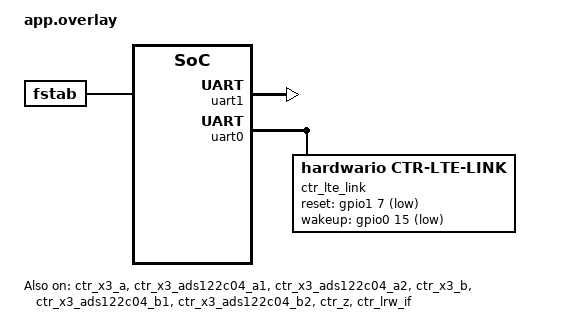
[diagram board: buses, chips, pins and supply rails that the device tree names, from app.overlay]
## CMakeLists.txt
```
#
# Copyright (c) 2024 HARDWARIO a.s.
#
# SPDX-License-Identifier: LicenseRef-HARDWARIO-5-Clause
#

cmake_minimum_required(VERSION 3.20.0)

set(ENV{FW_BUNDLE} "com.hardwario.chester.app.scale")
set(ENV{FW_NAME} "CHESTER Scale")

# Derive firmware version from git (see scripts/version.cmake); the fallback is
# used when git is unavailable at build time.
set(FW_VERSION_FALLBACK "v3.0.0")
include(${CMAKE_CURRENT_SOURCE_DIR}/../../scripts/version.cmake)

find_package(Zephyr REQUIRED HINTS $ENV{ZEPHYR_BASE})

project(chester-scale)

include(${ZEPHYR_CHESTER_MODULE_DIR}/scripts/app_codec.cmake)

target_sources(app PRIVATE src/app_cbor.c)
target_sources(app PRIVATE src/app_config.c)
target_sources(app PRIVATE src/app_data.c)
target_sources(app PRIVATE src/app_handler.c)
target_sources(app PRIVATE src/app_init.c)
target_sources(app PRIVATE src/app_lrw.c)
target_sources(app PRIVATE src/app_measure.c)
target_sources(app PRIVATE src/app_send.c)
target_sources(app PRIVATE src/app_sensor.c)
target_sources(app PRIVATE src/app_shell.c)
target_sources(app PRIVATE src/app_work.c)
target_sources(app PRIVATE src/main.c)

target_precompile_headers(app PRIVATE src/feature.h)

# ### Preserved code "cmake" (begin)
# ^^^ Preserved code "cmake" (end)
```

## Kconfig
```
#
# Copyright (c) 2024 HARDWARIO a.s.
#
# SPDX-License-Identifier: LicenseRef-HARDWARIO-5-Clause
#

menu "Application"

# CHESTER-APP-REPORT-JITTER
config APP_REPORT_JITTER
	bool "Add random time jitter to report transfers"
	default y
	select ENTROPY_GENERATOR
# HARDWARE-CHESTER-X3-A
config SHIELD_CTR_X3_A
	bool "Enable SHIELD_CTR_X3_A"
	default y

config CTR_X3
	default y
# HARDWARE-CHESTER-X3-B
config SHIELD_CTR_X3_B
	bool "Enable SHIELD_CTR_X3_B"
	default y

config CTR_X3
	default y
# HARDWARE-CHESTER-Z
config SHIELD_CTR_Z
	bool "Enable SHIELD_CTR_Z"
	default y

config CTR_Z
	default y

config I2C
	default y
# SUBSYSTEM-LRW
config SHIELD_CTR_LRW
	bool "Enable SHIELD_CTR_LRW"
	default y

config CTR_LRW
	default y
# SUBSYSTEM-LTE-V2
config SHIELD_CTR_LTE_V2
	bool "Enable SHIELD_CTR_LTE_V2"
	default y

config CTR_LTE_V2
	default y

# ### Preserved code "k_config" (begin)
# ^^^ Preserved code "k_config" (end)

rsource "Kconfig.variant"

endmenu

menu "Zephyr Kernel"
source "Kconfig.zephyr"
endmenu
```

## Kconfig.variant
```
#
# Copyright (c) 2024 HARDWARIO a.s.
#
# SPDX-License-Identifier: LicenseRef-HARDWARIO-5-Clause
#

config VARIANT_SCALE
    bool "Enable VARIANT_SCALE"
    default y
```

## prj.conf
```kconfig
#
# Copyright (c) 2024 HARDWARIO a.s.
#
# SPDX-License-Identifier: LicenseRef-HARDWARIO-5-Clause
#

# Configurations
# SUBSYSTEM-ACCEL
CONFIG_CTR_ACCEL=y
# SUBSYSTEM-BATT
CONFIG_CTR_BATT=y
# SUBSYSTEM-BLE-TAG
CONFIG_CTR_BLE_TAG=y
# SUBSYSTEM-BLUETOOTH
CONFIG_CTR_BLE=y
# SUBSYSTEM-BT-FILTER-ACCEPT-LIST
CONFIG_BT_FILTER_ACCEPT_LIST=y
# SUBSYSTEM-BT-OBSERVER
CONFIG_BT_OBSERVER=y
# SUBSYSTEM-BUF
CONFIG_CTR_BUF=y
# SUBSYSTEM-BUTTON
CONFIG_CTR_BUTTON=y
# SUBSYSTEM-CLOUD
CONFIG_CTR_CLOUD=y
CONFIG_SETTINGS_SHELL=y
CONFIG_IMG_MANAGER=y
CONFIG_BOOTLOADER_MCUBOOT=y
CONFIG_SPI=y
CONFIG_DFU_TARGET=y
CONFIG_DFU_TARGET_STREAM=y
CONFIG_DFU_TARGET_MCUBOOT=y
CONFIG_DFU_TARGET_LOG_LEVEL_DBG=y
CONFIG_STREAM_FLASH_ERASE=y
CONFIG_STREAM_FLASH=y
CONFIG_FILE_SYSTEM=y
CONFIG_FILE_SYSTEM_LITTLEFS=y
CONFIG_FILE_SYSTEM_MKFS=y
CONFIG_FILE_SYSTEM_SHELL=y
CONFIG_SETTINGS_FILE=y
CONFIG_SETTINGS_FILE_PATH="/lfs1/settings/run"
# SUBSYSTEM-CONFIG
CONFIG_CTR_CONFIG=y
# SUBSYSTEM-DEFAULTS
CONFIG_CTR_DEFAULTS=y
# SUBSYSTEM-ENTROPY-GENERATOR
CONFIG_ENTROPY_GENERATOR=y
# SUBSYSTEM-INFO
CONFIG_CTR_INFO=y
# SUBSYSTEM-LED
CONFIG_CTR_LED=y
# SUBSYSTEM-LOG
CONFIG_CTR_LOG=y
# SUBSYSTEM-LRW
CONFIG_CTR_LRW=y
# SUBSYSTEM-LTE-V2
CONFIG_CTR_LTE_V2=y
# SUBSYSTEM-POWER
CONFIG_CTR_POWER=y
# SUBSYSTEM-RTC
CONFIG_CTR_RTC=y
# SUBSYSTEM-SHELL
CONFIG_CTR_SHELL=y
# SUBSYSTEM-THERM
CONFIG_CTR_THERM=y
# SUBSYSTEM-WDOG
CONFIG_CTR_WDOG=y
# SUBSYSTEM-ZCBOR
CONFIG_ZCBOR=y
CONFIG_ZCBOR_STOP_ON_ERROR=y
# Extra configurations
CONFIG_ADC_NRFX_SAADC=n
CONFIG_ADC_SHELL=n
CONFIG_GPIO_SHELL=y
CONFIG_I2C_SHELL=y
CONFIG_ISR_TABLES_LOCAL_DECLARATION=y
CONFIG_LTO=y
CONFIG_MCUBOOT_SHELL=y
CONFIG_NEWLIB_LIBC_NANO=n

# ### Preserved code "config" (begin)
CONFIG_BUILD_OUTPUT_META=y
CONFIG_BUILD_OUTPUT_META_STATE_PROPAGATE=y
CONFIG_CTR_CLOUD_SPOOL=y
# ^^^ Preserved code "config" (end)
```

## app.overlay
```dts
/*
 * Copyright (c) 2024 HARDWARIO a.s.
 *
 * SPDX-License-Identifier: LicenseRef-HARDWARIO-5-Clause
 */

/* HARDWARE-CHESTER-X3-A  */
&ctr_x3_a {
	status = "okay";
};

&ctr_x3_ads122c04_a1 {
	status = "okay";
	gain = <7>;
	vref = <1>;
};

&ctr_x3_ads122c04_a2 {
	status = "okay";
	gain = <7>;
	vref = <1>;
};
/* HARDWARE-CHESTER-X3-B  */
&ctr_x3_b {
	status = "okay";
};

&ctr_x3_ads122c04_b1 {
	status = "okay";
	gain = <7>;
	vref = <1>;
};

&ctr_x3_ads122c04_b2 {
	status = "okay";
	gain = <7>;
	vref = <1>;
};
/* HARDWARE-CHESTER-Z  */
&ctr_z {
	status = "okay";
};
/* SUBSYSTEM-CLOUD  */
/ {
	fstab {
		compatible = "zephyr,fstab";
		lfs1: lfs1 {
			compatible = "zephyr,fstab,littlefs";
			mount-point = "/lfs1";
			partition = <&littlefs_storage>;
			automount;
			read-size = <16>;
			prog-size = <16>;
			cache-size = <64>;
			lookahead-size = <32>;
			block-cycles = <512>;
		};
	};
};
/* SUBSYSTEM-LRW   */
&ctr_lrw_if {
	status = "okay";
};

&uart1 {
	status = "okay";
};
/* SUBSYSTEM-LTE-V2  */
/ {
	chosen {
		ctr,lte_link = &ctr_lte_link;
	};
};

&uart0 {
	status = "okay";

	ctr_lte_link: ctr_lte_link {
		compatible = "hardwario,ctr-lte-link";
		status = "okay";
		reset-gpios = <&gpio1 7 (GPIO_ACTIVE_LOW | GPIO_OPEN_DRAIN)>;
		wakeup-gpios = <&gpio0 15 (GPIO_ACTIVE_LOW | GPIO_OPEN_DRAIN)>;
	};
};

&uart0 {
	status = "okay";
};

/* ### Preserved code "overlay" (begin) */
/* ^^^ Preserved code "overlay" (end) */
```

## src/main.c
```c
/*
 * Copyright (c) 2024 HARDWARIO a.s.
 *
 * SPDX-License-Identifier: LicenseRef-HARDWARIO-5-Clause
 */

#include "app_init.h"
#include "app_config.h"

/* CHESTER includes */
#include <chester/ctr_cloud.h>
#include <chester/ctr_led.h>
#include <chester/ctr_lte_v2.h>
#include <chester/ctr_rtc.h>
#include <chester/ctr_wdog.h>

/* Zephyr includes */
#include <zephyr/kernel.h>
#include <zephyr/logging/log.h>

/* Standard includes */
#include <stdbool.h>

LOG_MODULE_REGISTER(main, LOG_LEVEL_DBG);

extern struct ctr_wdog_channel g_app_wdog_channel;

static bool should_feed_watchdog(void);

int main(void)
{
	int ret;

	LOG_INF("Build time: " __DATE__ " " __TIME__);

	ret = app_init();
	if (ret) {
		LOG_ERR("Call `app_init` failed: %d", ret);
		k_oops();
	}

	for (;;) {
		k_sleep(K_SECONDS(5));
		LOG_INF("Alive");

		switch (g_app_config.mode) {
		case APP_CONFIG_MODE_NONE:
			/* Blink yellow when LTE/LRW mode not configured*/
			ctr_led_set(CTR_LED_CHANNEL_Y, true);
			k_sleep(K_MSEC(30));
			ctr_led_set(CTR_LED_CHANNEL_Y, false);
			break;

#if defined(FEATURE_SUBSYSTEM_LTE_V2)
		case APP_CONFIG_MODE_LTE:
			struct ctr_lte_v2_cereg_param cereg_param;
			ctr_lte_v2_get_cereg_param(&cereg_param);

			enum ctr_led_channel led_channel =
				(cereg_param.stat == CTR_LTE_V2_CEREG_PARAM_STAT_REGISTERED_HOME ||
				 cereg_param.stat == CTR_LTE_V2_CEREG_PARAM_STAT_REGISTERED_ROAMING)
					? CTR_LED_CHANNEL_G
					: CTR_LED_CHANNEL_R;

			ctr_led_set(led_channel, true);
			k_sleep(K_MSEC(30));
			ctr_led_set(led_channel, false);
			break;
#endif /* defined(FEATURE_SUBSYSTEM_LTE_V2) */

		default:
			ctr_led_set(CTR_LED_CHANNEL_G, true);
			k_sleep(K_MSEC(30));
			ctr_led_set(CTR_LED_CHANNEL_G, false);
			break;
		}

		if (should_feed_watchdog()) {
			LOG_INF("WDG feed");

			ret = ctr_wdog_feed(&g_app_wdog_channel);
			if (ret) {
				LOG_ERR("Call `ctr_wdog_feed` failed: %d", ret);
				k_oops();
			}
		}
	}

	return 0;
}

static bool should_feed_watchdog(void)
{

#if defined(FEATURE_SUBSYSTEM_LTE_V2)
	int ret;

	if (g_app_config.mode == APP_CONFIG_MODE_LTE) {

		if (g_app_config.downlink_wdg_interval) {
			LOG_INF("downlink_wdg_interval: %d", g_app_config.downlink_wdg_interval);
			int64_t downlink_ts;
			ret = ctr_cloud_get_last_seen_ts(&downlink_ts);

			if (ret) {
				LOG_WRN("No downlink timestamp");
				return false;
			}

			int64_t current_ts;
			ret = ctr_rtc_get_ts(&current_ts);
			if (ret) {
				LOG_ERR("Call `ctr_rtc_get_ts` failed: %d", ret);
				return false;
			}

			int64_t diff_ts = current_ts - downlink_ts;
			LOG_INF("diff_ts: %lld", diff_ts);
			if (diff_ts > g_app_config.downlink_wdg_interval) {
				LOG_WRN("Downlink ts bigger than interval! %lld", diff_ts);
				return false;
			}
		}
		LOG_INF("Downlink ts OK");
	}
#endif /* defined(FEATURE_SUBSYSTEM_LTE_V2) */

	return true;
}
```

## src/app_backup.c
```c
/*
 * Copyright (c) 2024 HARDWARIO a.s.
 *
 * SPDX-License-Identifier: LicenseRef-HARDWARIO-5-Clause
 */

#include "app_backup.h"
#include "app_config.h"
#include "app_data.h"
#include "app_work.h"

/* CHESTER includes */
#include <chester/ctr_rtc.h>
#include <chester/drivers/ctr_z.h>

/* Zephyr includes */
#include <zephyr/device.h>
#include <zephyr/devicetree.h>
#include <zephyr/kernel.h>
#include <zephyr/logging/log.h>

/* Standard includes */
#include <errno.h>
#include <math.h>
#include <stdbool.h>

LOG_MODULE_REGISTER(app_backup, LOG_LEVEL_DBG);

#if defined(FEATURE_HARDWARE_CHESTER_Z)

void handler_ctr_z(const struct device *dev, enum ctr_z_event backup_event, void *param)
{
	int ret;

	if (backup_event != CTR_Z_EVENT_DC_CONNECTED &&
	    backup_event != CTR_Z_EVENT_DC_DISCONNECTED) {
		return;
	}

	struct app_data_backup *backup = &g_app_data.backup;

	app_work_backup_update();

	app_data_lock();

	backup->line_present = backup_event == CTR_Z_EVENT_DC_CONNECTED;

	if (backup->event_count < APP_DATA_MAX_BACKUP_EVENTS) {
		struct app_data_backup_event *event = &backup->events[backup->event_count];

		ret = ctr_rtc_get_ts(&event->timestamp);
		if (ret) {
			LOG_ERR("Call `ctr_rtc_get_ts` failed: %d", ret);
			app_data_unlock();
			return;
		}

		event->connected = backup->line_present;
		backup->event_count++;

		LOG_INF("Event count: %d", backup->event_count);
	} else {
		LOG_WRN("Measurement full");
		app_data_unlock();
		return;
	}

	LOG_INF("Backup: %d", (int)backup->line_present);

	if (g_app_config.backup_report_connected && backup_event == CTR_Z_EVENT_DC_CONNECTED) {
		app_work_send_with_rate_limit();
	}

	if (g_app_config.backup_report_disconnected &&
	    backup_event == CTR_Z_EVENT_DC_DISCONNECTED) {
		app_work_send_with_rate_limit();
	}

	app_data_unlock();
}

int app_backup_init(void)
{
	int ret;

	static const struct device *dev = DEVICE_DT_GET(DT_NODELABEL(ctr_z));

	if (!device_is_ready(dev)) {
		LOG_ERR("Device not ready");
		return -ENODEV;
	}

	ret = ctr_z_set_handler(dev, handler_ctr_z, NULL);
	if (ret) {
		LOG_ERR("Call `ctr_z_set_handler` failed: %d", ret);
		return ret;
	}

	ret = ctr_z_enable_interrupts(dev);
	if (ret) {
		LOG_ERR("Call `ctr_z_enable_interrupts` failed: %d", ret);
		return ret;
	}

	uint32_t serial_number;
	ret = ctr_z_get_serial_number(dev, &serial_number);
	if (ret) {
		LOG_ERR("Call `ctr_z_get_serial_number` failed: %d", ret);
		return ret;
	}

	LOG_INF("Serial number: %08x", serial_number);

	uint16_t hw_revision;
	ret = ctr_z_get_hw_revision(dev, &hw_revision);
	if (ret) {
		LOG_ERR("Call `ctr_z_get_hw_revision` failed: %d", ret);
		return ret;
	}

	LOG_INF("HW revision: %04x", hw_revision);

	uint32_t hw_variant;
	ret = ctr_z_get_hw_variant(dev, &hw_variant);
	if (ret) {
		LOG_ERR("Call `ctr_z_get_hw_variant` failed: %d", ret);
		return ret;
	}

	LOG_INF("HW variant: %08x", hw_variant);

	uint32_t fw_version;
	ret = ctr_z_get_fw_version(dev, &fw_version);
	if (ret) {
		LOG_ERR("Call `ctr_z_get_fw_version` failed: %d", ret);
		return ret;
	}

	LOG_INF("FW version: %08x", fw_version);

	char vendor_name[32];
	ret = ctr_z_get_vendor_name(dev, vendor_name, sizeof(vendor_name));
	if (ret) {
		LOG_ERR("Call `ctr_z_get_vendor_name` failed: %d", ret);
		return ret;
	}

	LOG_INF("Vendor name: %s", vendor_name);

	char product_name[32];
	ret = ctr_z_get_product_name(dev, product_name, sizeof(product_name));
	if (ret) {
		LOG_ERR("Call `ctr_z_get_product_name` failed: %d", ret);
		return ret;
	}

	LOG_INF("Product name: %s", product_name);

	return 0;
}

int app_backup_sample(void)
{
	int ret;

	static const struct device *dev = DEVICE_DT_GET(DT_NODELABEL(ctr_z));

	if (!device_is_ready(dev)) {
		LOG_ERR("Device not ready");
		ret = -ENODEV;
		goto error;
	}

	struct ctr_z_status status;
	ret = ctr_z_get_status(dev, &status);
	if (ret) {
		LOG_ERR("Call `ctr_z_get_status` failed: %d", ret);
		goto error;
	}

	LOG_INF("DC input connected: %d", status.dc_input_connected);

	uint16_t vdc;
	ret = ctr_z_get_vdc_mv(dev, &vdc);
	if (ret) {
		LOG_ERR("Call `ctr_z_get_vdc_mv` failed: %d", ret);
		goto error;
	}

	LOG_INF("Voltage DC input: %u mV", vdc);

	uint16_t vbat;
	ret = ctr_z_get_vbat_mv(dev, &vbat);
	if (ret) {
		LOG_ERR("Call `ctr_z_get_vbat_mv` failed: %d", ret);
		goto error;
	}

	LOG_INF("Voltage backup battery: %u mV", vbat);

	app_data_lock();
	g_app_data.backup.line_present = status.dc_input_connected;
	g_app_data.backup.line_voltage = vdc / 1000.f;
	g_app_data.backup.battery_voltage = vbat / 1000.f;
	app_data_unlock();

	return 0;

error:
	app_data_lock();
	g_app_data.backup.line_present = false;
	g_app_data.backup.line_voltage = NAN;
	g_app_data.backup.battery_voltage = NAN;
	app_data_unlock();

	return ret;
}

int app_backup_clear(void)
{
	app_data_lock();
	g_app_data.backup.event_count = 0;
	app_data_unlock();

	return 0;
}

#endif /* defined(FEATURE_HARDWARE_CHESTER_Z) */
```

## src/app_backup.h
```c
/*
 * Copyright (c) 2024 HARDWARIO a.s.
 *
 * SPDX-License-Identifier: LicenseRef-HARDWARIO-5-Clause
 */

#ifndef APP_BACKUP_H_
#define APP_BACKUP_H_

#ifdef __cplusplus
extern "C" {
#endif

int app_backup_init(void);
int app_backup_sample(void);
int app_backup_clear(void);

#ifdef __cplusplus
}
#endif

#endif /* APP_BACKUP_H_ */
```

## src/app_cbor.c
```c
/*
 * Copyright (c) 2024 HARDWARIO a.s.
 *
 * SPDX-License-Identifier: LicenseRef-HARDWARIO-5-Clause
 */

#include "app_cbor.h"
#include "app_codec.h"
#include "app_config.h"
#include "app_data.h"

/* CHESTER includes */
#include <chester/ctr_info.h>
#include <chester/ctr_lte_v2.h>
#include <chester/ctr_rtc.h>
#include <chester/ctr_util.h>

/* Zephyr includes */
#include <zephyr/kernel.h>
#include <zephyr/logging/log.h>

#include <zcbor_common.h>
#include <zcbor_decode.h>
#include <zcbor_encode.h>

/* Standard includes */
#include <errno.h>
#include <math.h>
#include <stdbool.h>
#include <stddef.h>
#include <stdint.h>
#include <stdlib.h>

/* ### Preserved code "functions" (begin) */
#include <chester/ctr_power.h>

__unused static void put_sample_mul(zcbor_state_t *zs, struct ctr_data_aggreg *sample, float mul)
{
	if (isnan(sample->min)) {
		zcbor_nil_put(zs, NULL);
	} else {
		int32_t v = sample->min * mul;
		zcbor_int32_put(zs, v);
	}

	if (isnan(sample->max)) {
		zcbor_nil_put(zs, NULL);
	} else {
		int32_t v = sample->max * mul;
		zcbor_int32_put(zs, v);
	}

	if (isnan(sample->avg)) {
		zcbor_nil_put(zs, NULL);
	} else {
		int32_t v = sample->avg * mul;
		zcbor_int32_put(zs, v);
	}

	if (isnan(sample->mdn)) {
		zcbor_nil_put(zs, NULL);
	} else {
		int32_t v = sample->mdn * mul;
		zcbor_int32_put(zs, v);
	}
}

__unused static void put_sample(zcbor_state_t *zs, struct ctr_data_aggreg *sample)
{
	put_sample_mul(zs, sample, 1.f);
}
/* ^^^ Preserved code "functions" (end) */

LOG_MODULE_REGISTER(app_cbor, LOG_LEVEL_DBG);

static int encode(zcbor_state_t *zs)
{
	int ret;

	zs->constant_state->stop_on_error = true;

	zcbor_map_start_encode(zs, ZCBOR_VALUE_IS_INDEFINITE_LENGTH);

	/* ### Preserved code "message" (begin) */

	zcbor_uint32_put(zs, CODEC_KEY_E_MESSAGE);
	{
		zcbor_map_start_encode(zs, ZCBOR_VALUE_IS_INDEFINITE_LENGTH);

		zcbor_uint32_put(zs, CODEC_KEY_E_MESSAGE__VERSION);
		zcbor_uint32_put(zs, 1);

		static uint32_t sequence = 0;
		zcbor_uint32_put(zs, CODEC_KEY_E_MESSAGE__SEQUENCE);
		zcbor_uint32_put(zs, sequence++);

		uint64_t timestamp;
		ret = ctr_rtc_get_ts(&timestamp);
		if (ret) {
			LOG_ERR("Call `ctr_rtc_get_ts` failed: %d", ret);
			return ret;
		}

		zcbor_uint32_put(zs, CODEC_KEY_E_MESSAGE__TIMESTAMP);
		zcbor_uint64_put(zs, timestamp);

		zcbor_map_end_encode(zs, ZCBOR_VALUE_IS_INDEFINITE_LENGTH);
	}

	/* ^^^ Preserved code "message" (end) */

	/* ### Preserved code "attribute" (begin) */

	zcbor_uint32_put(zs, CODEC_KEY_E_ATTRIBUTE);
	{
		zcbor_map_start_encode(zs, ZCBOR_VALUE_IS_INDEFINITE_LENGTH);

		char *vendor_name;
		ctr_info_get_vendor_name(&vendor_name);

		zcbor_uint32_put(zs, CODEC_KEY_E_ATTRIBUTE__VENDOR_NAME);
		zcbor_tstr_put_term(zs, vendor_name, CONFIG_ZCBOR_MAX_STR_LEN);

		char *product_name;
		ctr_info_get_product_name(&product_name);

		zcbor_uint32_put(zs, CODEC_KEY_E_ATTRIBUTE__PRODUCT_NAME);
		zcbor_tstr_put_term(zs, product_name, CONFIG_ZCBOR_MAX_STR_LEN);

		char *hw_variant;
		ctr_info_get_hw_variant(&hw_variant);

		zcbor_uint32_put(zs, CODEC_KEY_E_ATTRIBUTE__HW_VARIANT);
		zcbor_tstr_put_term(zs, hw_variant, CONFIG_ZCBOR_MAX_STR_LEN);

		char *hw_revision;
		ctr_info_get_hw_revision(&hw_revision);

		zcbor_uint32_put(zs, CODEC_KEY_E_ATTRIBUTE__HW_REVISION);
		zcbor_tstr_put_term(zs, hw_revision, CONFIG_ZCBOR_MAX_STR_LEN);

		char *fw_version;
		ctr_info_get_fw_version(&fw_version);

		zcbor_uint32_put(zs, CODEC_KEY_E_ATTRIBUTE__FW_VERSION);
		zcbor_tstr_put_term(zs, fw_version, CONFIG_ZCBOR_MAX_STR_LEN);

		char *serial_number;
		ctr_info_get_serial_number(&serial_number);

		zcbor_uint32_put(zs, CODEC_KEY_E_ATTRIBUTE__SERIAL_NUMBER);
		zcbor_tstr_put_term(zs, serial_number, CONFIG_ZCBOR_MAX_STR_LEN);

		zcbor_map_end_encode(zs, ZCBOR_VALUE_IS_INDEFINITE_LENGTH);
	}

	/* ^^^ Preserved code "attribute" (end) */

	/* ### Preserved code "system" (begin) */

	zcbor_uint32_put(zs, CODEC_KEY_E_SYSTEM);
	{
		zcbor_map_start_encode(zs, ZCBOR_VALUE_IS_INDEFINITE_LENGTH);

		zcbor_uint32_put(zs, CODEC_KEY_E_SYSTEM__UPTIME);
		zcbor_uint64_put(zs, k_uptime_get() / 1000);

		zcbor_map_end_encode(zs, ZCBOR_VALUE_IS_INDEFINITE_LENGTH);
	}

	/* ^^^ Preserved code "system" (end) */

	/* ### Preserved code "network" (begin) */

	zcbor_uint32_put(zs, CODEC_KEY_E_NETWORK);
	{
		zcbor_map_start_encode(zs, ZCBOR_VALUE_IS_INDEFINITE_LENGTH);

		zcbor_uint32_put(zs, CODEC_KEY_E_NETWORK__PARAMETER);
		{
			zcbor_map_start_encode(zs, ZCBOR_VALUE_IS_INDEFINITE_LENGTH);

			static struct ctr_lte_v2_conn_param conn_param;
			ret = ctr_lte_v2_get_conn_param(&conn_param);
			if (ret) {
				LOG_ERR("Call `ctr_lte_v2_state_get_conn_param` failed: %d", ret);
				return ret;
			}

			zcbor_uint32_put(zs, CODEC_KEY_E_NETWORK__PARAMETER__EEST);
			if (conn_param.valid) {
				zcbor_int32_put(zs, conn_param.eest);
			} else {
				zcbor_nil_put(zs, NULL);
			}

			zcbor_uint32_put(zs, CODEC_KEY_E_NETWORK__PARAMETER__ECL);
			if (conn_param.valid) {
				zcbor_int32_put(zs, conn_param.ecl);
			} else {
				zcbor_nil_put(zs, NULL);
			}

			zcbor_uint32_put(zs, CODEC_KEY_E_NETWORK__PARAMETER__RSRP);
			if (conn_param.valid) {
				zcbor_int32_put(zs, conn_param.rsrp);
			} else {
				zcbor_nil_put(zs, NULL);
			}

			zcbor_uint32_put(zs, CODEC_KEY_E_NETWORK__PARAMETER__RSRQ);
			if (conn_param.valid) {
				zcbor_int32_put(zs, conn_param.rsrq);
			} else {
				zcbor_nil_put(zs, NULL);
			}

			zcbor_uint32_put(zs, CODEC_KEY_E_NETWORK__PARAMETER__SNR);
			if (conn_param.valid) {
				zcbor_int32_put(zs, conn_param.snr);
			} else {
				zcbor_nil_put(zs, NULL);
			}

			zcbor_uint32_put(zs, CODEC_KEY_E_NETWORK__PARAMETER__PLMN);
			if (conn_param.valid) {
				zcbor_int32_put(zs, conn_param.plmn);
			} else {
				zcbor_nil_put(zs, NULL);
			}

			zcbor_uint32_put(zs, CODEC_KEY_E_NETWORK__PARAMETER__CID);
			if (conn_param.valid) {
				zcbor_int32_put(zs, conn_param.cid);
			} else {
				zcbor_nil_put(zs, NULL);
			}

			zcbor_uint32_put(zs, CODEC_KEY_E_NETWORK__PARAMETER__BAND);
			if (conn_param.valid) {
				zcbor_int32_put(zs, conn_param.band);
			} else {
				zcbor_nil_put(zs, NULL);
			}

			zcbor_uint32_put(zs, CODEC_KEY_E_NETWORK__PARAMETER__EARFCN);
			if (conn_param.valid) {
				zcbor_int32_put(zs, conn_param.earfcn);
			} else {
				zcbor_nil_put(zs, NULL);
			}

			zcbor_map_end_encode(zs, ZCBOR_VALUE_IS_INDEFINITE_LENGTH);
		}

		zcbor_map_end_encode(zs, ZCBOR_VALUE_IS_INDEFINITE_LENGTH);
	}

	/* ^^^ Preserved code "network" (end) */

	/* ### Preserved code "accelerometer" (begin) */

	zcbor_uint32_put(zs, CODEC_KEY_E_ACCELEROMETER);
	{
		zcbor_map_start_encode(zs, ZCBOR_VALUE_IS_INDEFINITE_LENGTH);

		zcbor_uint32_put(zs, CODEC_KEY_E_ACCELEROMETER__ACCEL_X);
		if (isnan(g_app_data.accel_acceleration_x)) {
			zcbor_nil_put(zs, NULL);
		} else {
			zcbor_int32_put(zs, g_app_data.accel_acceleration_x * 1000.f);
		}

		zcbor_uint32_put(zs, CODEC_KEY_E_ACCELEROMETER__ACCEL_Y);
		if (isnan(g_app_data.accel_acceleration_y)) {
			zcbor_nil_put(zs, NULL);
		} else {
			zcbor_int32_put(zs, g_app_data.accel_acceleration_y * 1000.f);
		}

		zcbor_uint32_put(zs, CODEC_KEY_E_ACCELEROMETER__ACCEL_Z);
		if (isnan(g_app_data.accel_acceleration_z)) {
			zcbor_nil_put(zs, NULL);
		} else {
			zcbor_int32_put(zs, g_app_data.accel_acceleration_z * 1000.f);
		}

		zcbor_uint32_put(zs, CODEC_KEY_E_ACCELEROMETER__ORIENTATION);
		if (g_app_data.accel_orientation == INT_MAX) {
			zcbor_nil_put(zs, NULL);
		} else {
			zcbor_uint32_put(zs, g_app_data.accel_orientation);
		}

		zcbor_map_end_encode(zs, ZCBOR_VALUE_IS_INDEFINITE_LENGTH);
	}

	/* ^^^ Preserved code "accelerometer" (end) */

	/* ### Preserved code "thermometer" (begin) */

	zcbor_uint32_put(zs, CODEC_KEY_E_THERMOMETER);
	{
		zcbor_map_start_encode(zs, ZCBOR_VALUE_IS_INDEFINITE_LENGTH);

		zcbor_uint32_put(zs, CODEC_KEY_E_THERMOMETER__TEMPERATURE);
		if (isnan(g_app_data.therm_temperature)) {
			zcbor_nil_put(zs, NULL);
		} else {
			zcbor_int32_put(zs, g_app_data.therm_temperature * 100.f);
		}

		zcbor_map_end_encode(zs, ZCBOR_VALUE_IS_INDEFINITE_LENGTH);
	}

	/* ^^^ Preserved code "thermometer" (end) */

	/* ### Preserved code "power" (begin) */

#if defined(FEATURE_SUBSYSTEM_POWER)
	ret = ctr_power_cbor_encode(zs);
	if (ret) {
		LOG_ERR("Call `ctr_power_cbor_encode` failed: %d", ret);
		return ret;
	}
#endif /* defined(FEATURE_SUBSYSTEM_POWER) */

	/* ^^^ Preserved code "power" (end) */

	/* ### Preserved code "weight" (begin) */
	if (g_app_config.channel_a1_active || g_app_config.channel_a2_active ||
	    g_app_config.channel_b1_active || g_app_config.channel_b2_active) {
		zcbor_uint32_put(zs, CODEC_KEY_E_WEIGHT);
		{
			zcbor_list_start_encode(zs, ZCBOR_VALUE_IS_INDEFINITE_LENGTH);

			zcbor_int64_put(zs, g_app_data.weight_measurement_timestamp);

			for (int i = 0; i < g_app_data.weight_measurement_count; i++) {
				zcbor_uint32_put(
					zs, g_app_data.weight_measurements[i].timestamp_offset);

				if (!g_app_config.channel_a1_active ||
				    g_app_data.weight_measurements[i].a1_raw == INT32_MAX) {
					zcbor_nil_put(zs, NULL);
				} else {
					zcbor_int32_put(zs,
							g_app_data.weight_measurements[i].a1_raw);
				}

				if (!g_app_config.channel_a2_active ||
				    g_app_data.weight_measurements[i].a2_raw == INT32_MAX) {
					zcbor_nil_put(zs, NULL);
				} else {
					zcbor_int32_put(zs,
							g_app_data.weight_measurements[i].a2_raw);
				}

				if (!g_app_config.channel_b1_active ||
				    g_app_data.weight_measurements[i].b1_raw == INT32_MAX) {
					zcbor_nil_put(zs, NULL);
				} else {
					zcbor_int32_put(zs,
							g_app_data.weight_measurements[i].b1_raw);
				}

				if (!g_app_config.channel_b2_active ||
				    g_app_data.weight_measurements[i].b2_raw == INT32_MAX) {
					zcbor_nil_put(zs, NULL);
				} else {
					zcbor_int32_put(zs,
							g_app_data.weight_measurements[i].b2_raw);
				}
			}

			zcbor_list_end_encode(zs, ZCBOR_VALUE_IS_INDEFINITE_LENGTH);
		}
	}
	/* ^^^ Preserved code "weight" (end) */

	/* ### Preserved code "people_counter" (begin) */

#if defined(FEATURE_CHESTER_HARDWARE_PEOPLE_COUNTER)
	zcbor_uint32_put(zs, CODEC_KEY_E_PEOPLE_COUNTER);
	{
		zcbor_list_start_encode(zs, ZCBOR_VALUE_IS_INDEFINITE_LENGTH);

		zcbor_uint64_put(zs, g_app_data.people_measurement_timestamp);

		for (int i = 0; i < g_app_data.people_measurement_count; i++) {
			bool is_valid = g_app_data.people_measurements[i].is_valid;

			struct people_counter_measurement *measurement =
				&g_app_data.people_measurements[i].measurement;

			zcbor_uint32_put(zs, g_app_data.people_measurements[i].timestamp_offset);

			if (!is_valid) {
				zcbor_nil_put(zs, NULL);
			} else {
				zcbor_uint32_put(zs, measurement->motion_counter);
			}

			if (!is_valid) {
				zcbor_nil_put(zs, NULL);
			} else {
				zcbor_uint32_put(zs, measurement->pass_counter_left);
			}

			if (!is_valid) {
				zcbor_nil_put(zs, NULL);
			} else {
				zcbor_uint32_put(zs, measurement->pass_counter_right);
			}

			if (!is_valid) {
				zcbor_nil_put(zs, NULL);
			} else {
				zcbor_uint32_put(zs, measurement->pass_counter_adult);
			}

			if (!is_valid) {
				zcbor_nil_put(zs, NULL);
			} else {
				zcbor_uint32_put(zs, measurement->pass_counter_child);
			}

			if (!is_valid) {
				zcbor_nil_put(zs, NULL);
			} else {
				zcbor_uint32_put(zs, measurement->stay_counter_adult);
			}

			if (!is_valid) {
				zcbor_nil_put(zs, NULL);
			} else {
				zcbor_uint32_put(zs, measurement->stay_counter_child);
			}

			if (!is_valid) {
				zcbor_nil_put(zs, NULL);
			} else {
				zcbor_uint32_put(zs, measurement->total_time_adult);
			}

			if (!is_valid) {
				zcbor_nil_put(zs, NULL);
			} else {
				zcbor_uint32_put(zs, measurement->total_time_child);
			}

			if (!is_valid) {
				zcbor_nil_put(zs, NULL);
			} else {
				zcbor_uint32_put(zs, measurement->consumed_energy);
			}
		}

		zcbor_list_end_encode(zs, ZCBOR_VALUE_IS_INDEFINITE_LENGTH);
	}
#endif /* defined(FEATURE_CHESTER_HARDWARE_PEOPLE_COUNTER) */

	/* ^^^ Preserved code "people_counter" (end) */

	/* ### Preserved code "ble_tags" (begin) */

#if defined(FEATURE_SUBSYSTEM_BLE_TAG)
	zcbor_int32_put(zs, CODEC_KEY_E_BLE_TAGS);
	{
		zcbor_list_start_encode(zs, ZCBOR_VALUE_IS_INDEFINITE_LENGTH);
		for (int i = 0; i < CTR_BLE_TAG_COUNT; i++) {
			struct app_data_ble_tag_sensor *sensor = &g_app_data.ble_tag.sensor[i];

			if (ctr_ble_tag_is_addr_empty(sensor->addr)) {
				continue;
			}

			zcbor_map_start_encode(zs, ZCBOR_VALUE_IS_INDEFINITE_LENGTH);
			{

				zcbor_uint32_put(zs, CODEC_KEY_E_BLE_TAGS__ADDR);
				{
					char addr_str[BT_ADDR_SIZE * 2 + 1] = {0};
					ctr_buf2hex(sensor->addr, BT_ADDR_SIZE, addr_str,
						    BT_ADDR_SIZE * 2 + 1, false);
					zcbor_tstr_put_lit(zs, addr_str);
				}

				zcbor_uint32_put(zs, CODEC_KEY_E_BLE_TAGS__RSSI);
				if (sensor->rssi < 0) {
					zcbor_int32_put(zs, sensor->rssi);
				} else {
					zcbor_nil_put(zs, NULL);
				}

				zcbor_uint32_put(zs, CODEC_KEY_E_BLE_TAGS__VOLTAGE);
				if (!isnan(sensor->voltage)) {
					zcbor_uint32_put(zs, sensor->voltage * 100.f);
				} else {
					zcbor_nil_put(zs, NULL);
				}

				zcbor_uint32_put(zs, CODEC_KEY_E_BLE_TAGS__TEMPERATURE);
				{
					zcbor_map_start_encode(zs,
							       ZCBOR_VALUE_IS_INDEFINITE_LENGTH);
					zcbor_uint32_put(
						zs,
						CODEC_KEY_E_BLE_TAGS__TEMPERATURE__MEASUREMENTS);
					{
						zcbor_list_start_encode(
							zs, ZCBOR_VALUE_IS_INDEFINITE_LENGTH);

						zcbor_uint64_put(zs, g_app_data.ble_tag.timestamp);
						zcbor_uint32_put(zs, g_app_config.interval_aggreg);

						for (int j = 0; j < sensor->measurement_count;
						     j++) {
							put_sample_mul(zs,
								       &sensor->measurements[j]
										.temperature,
								       100.f);
						}
						zcbor_list_end_encode(
							zs, ZCBOR_VALUE_IS_INDEFINITE_LENGTH);
					}
					zcbor_map_end_encode(zs, ZCBOR_VALUE_IS_INDEFINITE_LENGTH);
				}

				zcbor_int32_put(zs, CODEC_KEY_E_BLE_TAGS__HUMIDITY);
				{
					zcbor_map_start_encode(zs,
							       ZCBOR_VALUE_IS_INDEFINITE_LENGTH);
					zcbor_uint32_put(
						zs, CODEC_KEY_E_BLE_TAGS__HUMIDITY__MEASUREMENTS);
					{
						zcbor_list_start_encode(
							zs, ZCBOR_VALUE_IS_INDEFINITE_LENGTH);

						zcbor_uint64_put(zs, g_app_data.ble_tag.timestamp);
						zcbor_uint32_put(zs, g_app_config.interval_aggreg);

						for (int j = 0; j < sensor->measurement_count;
						     j++) {
							put_sample_mul(
								zs,
								&sensor->measurements[j].humidity,
								100.f);
						}
						zcbor_list_end_encode(
							zs, ZCBOR_VALUE_IS_INDEFINITE_LENGTH);
					}
					zcbor_map_end_encode(zs, ZCBOR_VALUE_IS_INDEFINITE_LENGTH);
				}
			}

			zcbor_map_end_encode(zs, ZCBOR_VALUE_IS_INDEFINITE_LENGTH);
		}

		zcbor_list_end_encode(zs, ZCBOR_VALUE_IS_INDEFINITE_LENGTH);
	}
#endif /* defined(FEATURE_SUBSYSTEM_BLE_TAG) */

	/* ^^^ Preserved code "ble_tags" (end) */

	zcbor_map_end_encode(zs, ZCBOR_VALUE_IS_INDEFINITE_LENGTH);

	if (!zcbor_check_error(zs)) {
		LOG_ERR("Encoding failed: %d", zcbor_pop_error(zs));
		return -EFAULT;
	}

	return 0;
}

int app_cbor_encode(zcbor_state_t *zs)
{
	int ret;

	app_data_lock();

	ret = encode(zs);
	if (ret) {
		LOG_ERR("Call `encode` failed: %d", ret);
		app_data_unlock();
		return ret;
	}

	app_data_unlock();

	return 0;
}
```

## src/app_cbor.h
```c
#ifndef APP_CBOR_H_
#define APP_CBOR_H_

/* Zephyr includes */
#include <zephyr.h>
#include <zcbor_common.h>

#ifdef __cplusplus
extern "C" {
#endif

int app_cbor_encode(zcbor_state_t *zs);

#ifdef __cplusplus
}
#endif

#endif /* APP_CBOR_H_ */
```

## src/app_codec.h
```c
#ifndef CODEC_H_
#define CODEC_H_

/* This file has been generated using the script gen-codec.py */

#ifdef __cplusplus
extern "C" {
#endif

#define CODEC_CLOUD_DECODER_HASH ((uint64_t)0x0cf3c030b992b548)
#define CODEC_CLOUD_ENCODER_HASH ((uint64_t)0x0000000000000000)

enum codec_key_e {
	CODEC_KEY_E_MESSAGE = 0,
	CODEC_KEY_E_MESSAGE__VERSION = 1,
	CODEC_KEY_E_MESSAGE__SEQUENCE = 2,
	CODEC_KEY_E_MESSAGE__TIMESTAMP = 3,
	CODEC_KEY_E_ATTRIBUTE = 4,
	CODEC_KEY_E_ATTRIBUTE__VENDOR_NAME = 5,
	CODEC_KEY_E_ATTRIBUTE__PRODUCT_NAME = 6,
	CODEC_KEY_E_ATTRIBUTE__HW_VARIANT = 7,
	CODEC_KEY_E_ATTRIBUTE__HW_REVISION = 8,
	CODEC_KEY_E_ATTRIBUTE__FW_VERSION = 9,
	CODEC_KEY_E_ATTRIBUTE__SERIAL_NUMBER = 10,
	CODEC_KEY_E_SYSTEM = 11,
	CODEC_KEY_E_SYSTEM__UPTIME = 12,
	CODEC_KEY_E_SYSTEM__VOLTAGE_LOAD = 13,
	CODEC_KEY_E_SYSTEM__VOLTAGE_REST = 14,
	CODEC_KEY_E_SYSTEM__CURRENT_LOAD = 15,
	CODEC_KEY_E_NETWORK = 16,
	CODEC_KEY_E_NETWORK__PARAMETER = 17,
	CODEC_KEY_E_NETWORK__PARAMETER__EEST = 18,
	CODEC_KEY_E_NETWORK__PARAMETER__ECL = 19,
	CODEC_KEY_E_NETWORK__PARAMETER__RSRP = 20,
	CODEC_KEY_E_NETWORK__PARAMETER__RSRQ = 21,
	CODEC_KEY_E_NETWORK__PARAMETER__SNR = 22,
	CODEC_KEY_E_NETWORK__PARAMETER__PLMN = 23,
	CODEC_KEY_E_NETWORK__PARAMETER__CID = 24,
	CODEC_KEY_E_NETWORK__PARAMETER__BAND = 25,
	CODEC_KEY_E_NETWORK__PARAMETER__EARFCN = 26,
	CODEC_KEY_E_ACCELEROMETER = 27,
	CODEC_KEY_E_ACCELEROMETER__ACCEL_X = 28,
	CODEC_KEY_E_ACCELEROMETER__ACCEL_Y = 29,
	CODEC_KEY_E_ACCELEROMETER__ACCEL_Z = 30,
	CODEC_KEY_E_ACCELEROMETER__ORIENTATION = 31,
	CODEC_KEY_E_THERMOMETER = 32,
	CODEC_KEY_E_THERMOMETER__TEMPERATURE = 33,
	CODEC_KEY_E_BACKUP = 34,
	CODEC_KEY_E_BACKUP__LINE_VOLTAGE = 35,
	CODEC_KEY_E_BACKUP__BATT_VOLTAGE = 36,
	CODEC_KEY_E_BACKUP__STATE = 37,
	CODEC_KEY_E_BACKUP__EVENTS = 38,
	CODEC_KEY_E_WEIGHT = 39,
	CODEC_KEY_E_PEOPLE_COUNTER = 40,
	CODEC_KEY_E_BLE_TAGS = 41,
	CODEC_KEY_E_BLE_TAGS__ADDR = 42,
	CODEC_KEY_E_BLE_TAGS__RSSI = 43,
	CODEC_KEY_E_BLE_TAGS__VOLTAGE = 44,
	CODEC_KEY_E_BLE_TAGS__TEMPERATURE = 45,
	CODEC_KEY_E_BLE_TAGS__TEMPERATURE__MEASUREMENTS = 46,
	CODEC_KEY_E_BLE_TAGS__HUMIDITY = 47,
	CODEC_KEY_E_BLE_TAGS__HUMIDITY__MEASUREMENTS = 48,
};

#define CODEC_CLOUD_OPTIONS_STATIC(_name) \
	static const uint8_t _name##_cloud_decoder[] = CLOUD_DECODER_BUFFER; \
	static struct ctr_cloud_options _name = { \
		.decoder_hash = CODEC_CLOUD_DECODER_HASH, \
		.encoder_hash = CODEC_CLOUD_ENCODER_HASH, \
		.decoder_buf = _name##_cloud_decoder, \
		.decoder_len = 1273, \
		.encoder_buf = NULL, \
		.encoder_len = 0, \
}

#define CLOUD_DECODER_BUFFER { \
	0xa4, 0x67, 0x76, 0x65, 0x72, 0x73, 0x69, 0x6f, \
	0x6e, 0x02, 0x64, 0x74, 0x79, 0x70, 0x65, 0x67, \
	0x64, 0x65, 0x63, 0x6f, 0x64, 0x65, 0x72, 0x64, \
	0x6e, 0x61, 0x6d, 0x65, 0x78, 0x1f, 0x63, 0x6f, \
	0x6d, 0x2e, 0x68, 0x61, 0x72, 0x64, 0x77, 0x61, \
	0x72, 0x69, 0x6f, 0x2e, 0x63, 0x68, 0x65, 0x73, \
	0x74, 0x65, 0x72, 0x2e, 0x61, 0x70, 0x70, 0x2e, \
	0x73, 0x63, 0x61, 0x6c, 0x65, 0x66, 0x73, 0x63, \
	0x68, 0x65, 0x6d, 0x61, 0x8a, 0xa1, 0x67, 0x6d, \
	0x65, 0x73, 0x73, 0x61, 0x67, 0x65, 0x83, 0xa1, \
	0x67, 0x76, 0x65, 0x72, 0x73, 0x69, 0x6f, 0x6e, \
	0xf6, 0xa1, 0x68, 0x73, 0x65, 0x71, 0x75, 0x65, \
	0x6e, 0x63, 0x65, 0xf6, 0xa1, 0x69, 0x74, 0x69, \
	0x6d, 0x65, 0x73, 0x74, 0x61, 0x6d, 0x70, 0xf6, \
	0xa1, 0x69, 0x61, 0x74, 0x74, 0x72, 0x69, 0x62, \
	0x75, 0x74, 0x65, 0x86, 0xa1, 0x6b, 0x76, 0x65, \
	0x6e, 0x64, 0x6f, 0x72, 0x5f, 0x6e, 0x61, 0x6d, \
	0x65, 0xf6, 0xa1, 0x6c, 0x70, 0x72, 0x6f, 0x64, \
	0x75, 0x63, 0x74, 0x5f, 0x6e, 0x61, 0x6d, 0x65, \
	0xf6, 0xa1, 0x6a, 0x68, 0x77, 0x5f, 0x76, 0x61, \
	0x72, 0x69, 0x61, 0x6e, 0x74, 0xf6, 0xa1, 0x6b, \
	0x68, 0x77, 0x5f, 0x72, 0x65, 0x76, 0x69, 0x73, \
	0x69, 0x6f, 0x6e, 0xf6, 0xa1, 0x6a, 0x66, 0x77, \
	0x5f, 0x76, 0x65, 0x72, 0x73, 0x69, 0x6f, 0x6e, \
	0xf6, 0xa1, 0x6d, 0x73, 0x65, 0x72, 0x69, 0x61, \
	0x6c, 0x5f, 0x6e, 0x75, 0x6d, 0x62, 0x65, 0x72, \
	0xf6, 0xa1, 0x66, 0x73, 0x79, 0x73, 0x74, 0x65, \
	0x6d, 0x84, 0xa1, 0x66, 0x75, 0x70, 0x74, 0x69, \
	0x6d, 0x65, 0xf6, 0xa1, 0x6c, 0x76, 0x6f, 0x6c, \
	0x74, 0x61, 0x67, 0x65, 0x5f, 0x6c, 0x6f, 0x61, \
	0x64, 0x82, 0xa1, 0x64, 0x24, 0x64, 0x69, 0x76, \
	0x19, 0x03, 0xe8, 0xa1, 0x64, 0x24, 0x66, 0x70, \
	0x70, 0x02, 0xa1, 0x6c, 0x76, 0x6f, 0x6c, 0x74, \
	0x61, 0x67, 0x65, 0x5f, 0x72, 0x65, 0x73, 0x74, \
	0x82, 0xa1, 0x64, 0x24, 0x64, 0x69, 0x76, 0x19, \
	0x03, 0xe8, 0xa1, 0x64, 0x24, 0x66, 0x70, 0x70, \
	0x02, 0xa1, 0x6c, 0x63, 0x75, 0x72, 0x72, 0x65, \
	0x6e, 0x74, 0x5f, 0x6c, 0x6f, 0x61, 0x64, 0xf6, \
	0xa1, 0x67, 0x6e, 0x65, 0x74, 0x77, 0x6f, 0x72, \
	0x6b, 0x81, 0xa1, 0x69, 0x70, 0x61, 0x72, 0x61, \
	0x6d, 0x65, 0x74, 0x65, 0x72, 0x89, 0xa1, 0x64, \
	0x65, 0x65, 0x73, 0x74, 0xf6, 0xa1, 0x63, 0x65, \
	0x63, 0x6c, 0xf6, 0xa1, 0x64, 0x72, 0x73, 0x72, \
	0x70, 0xf6, 0xa1, 0x64, 0x72, 0x73, 0x72, 0x71, \
	0xf6, 0xa1, 0x63, 0x73, 0x6e, 0x72, 0xf6, 0xa1, \
	0x64, 0x70, 0x6c, 0x6d, 0x6e, 0xf6, 0xa1, 0x63, \
	0x63, 0x69, 0x64, 0xf6, 0xa1, 0x64, 0x62, 0x61, \
	0x6e, 0x64, 0xf6, 0xa1, 0x66, 0x65, 0x61, 0x72, \
	0x66, 0x63, 0x6e, 0xf6, 0xa1, 0x6d, 0x61, 0x63, \
	0x63, 0x65, 0x6c, 0x65, 0x72, 0x6f, 0x6d, 0x65, \
	0x74, 0x65, 0x72, 0x84, 0xa1, 0x67, 0x61, 0x63, \
	0x63, 0x65, 0x6c, 0x5f, 0x78, 0x82, 0xa1, 0x64, \
	0x24, 0x64, 0x69, 0x76, 0x19, 0x03, 0xe8, 0xa1, \
	0x64, 0x24, 0x66, 0x70, 0x70, 0x02, 0xa1, 0x67, \
	0x61, 0x63, 0x63, 0x65, 0x6c, 0x5f, 0x79, 0x82, \
	0xa1, 0x64, 0x24, 0x64, 0x69, 0x76, 0x19, 0x03, \
	0xe8, 0xa1, 0x64, 0x24, 0x66, 0x70, 0x70, 0x02, \
	0xa1, 0x67, 0x61, 0x63, 0x63, 0x65, 0x6c, 0x5f, \
	0x7a, 0x82, 0xa1, 0x64, 0x24, 0x64, 0x69, 0x76, \
	0x19, 0x03, 0xe8, 0xa1, 0x64, 0x24, 0x66, 0x70, \
	0x70, 0x02, 0xa1, 0x6b, 0x6f, 0x72, 0x69, 0x65, \
	0x6e, 0x74, 0x61, 0x74, 0x69, 0x6f, 0x6e, 0xf6, \
	0xa1, 0x6b, 0x74, 0x68, 0x65, 0x72, 0x6d, 0x6f, \
	0x6d, 0x65, 0x74, 0x65, 0x72, 0x81, 0xa1, 0x6b, \
	0x74, 0x65, 0x6d, 0x70, 0x65, 0x72, 0x61, 0x74, \
	0x75, 0x72, 0x65, 0x82, 0xa1, 0x64, 0x24, 0x64, \
	0x69, 0x76, 0x18, 0x64, 0xa1, 0x64, 0x24, 0x66, \
	0x70, 0x70, 0x02, 0xa1, 0x66, 0x62, 0x61, 0x63, \
	0x6b, 0x75, 0x70, 0x84, 0xa1, 0x6c, 0x6c, 0x69, \
	0x6e, 0x65, 0x5f, 0x76, 0x6f, 0x6c, 0x74, 0x61, \
	0x67, 0x65, 0xf6, 0xa1, 0x6c, 0x62, 0x61, 0x74, \
	0x74, 0x5f, 0x76, 0x6f, 0x6c, 0x74, 0x61, 0x67, \
	0x65, 0xf6, 0xa1, 0x65, 0x73, 0x74, 0x61, 0x74, \
	0x65, 0x81, 0xa1, 0x65, 0x24, 0x65, 0x6e, 0x75, \
	0x6d, 0x82, 0x6c, 0x64, 0x69, 0x73, 0x63, 0x6f, \
	0x6e, 0x6e, 0x65, 0x63, 0x74, 0x65, 0x64, 0x69, \
	0x63, 0x6f, 0x6e, 0x6e, 0x65, 0x63, 0x74, 0x65, \
	0x64, 0xa1, 0x66, 0x65, 0x76, 0x65, 0x6e, 0x74, \
	0x73, 0x82, 0xa1, 0x64, 0x24, 0x6b, 0x65, 0x79, \
	0x66, 0x65, 0x76, 0x65, 0x6e, 0x74, 0x73, 0xa1, \
	0x64, 0x24, 0x74, 0x73, 0x6f, 0x81, 0xa1, 0x64, \
	0x74, 0x79, 0x70, 0x65, 0x81, 0xa1, 0x65, 0x24, \
	0x65, 0x6e, 0x75, 0x6d, 0x82, 0x6c, 0x64, 0x69, \
	0x73, 0x63, 0x6f, 0x6e, 0x6e, 0x65, 0x63, 0x74, \
	0x65, 0x64, 0x69, 0x63, 0x6f, 0x6e, 0x6e, 0x65, \
	0x63, 0x74, 0x65, 0x64, 0xa1, 0x66, 0x77, 0x65, \
	0x69, 0x67, 0x68, 0x74, 0x81, 0xa1, 0x64, 0x24, \
	0x74, 0x73, 0x6f, 0x84, 0xa1, 0x6d, 0x72, 0x61, \
	0x77, 0x5f, 0x72, 0x65, 0x73, 0x75, 0x6c, 0x74, \
	0x5f, 0x61, 0x31, 0xf6, 0xa1, 0x6d, 0x72, 0x61, \
	0x77, 0x5f, 0x72, 0x65, 0x73, 0x75, 0x6c, 0x74, \
	0x5f, 0x61, 0x32, 0xf6, 0xa1, 0x6d, 0x72, 0x61, \
	0x77, 0x5f, 0x72, 0x65, 0x73, 0x75, 0x6c, 0x74, \
	0x5f, 0x62, 0x31, 0xf6, 0xa1, 0x6d, 0x72, 0x61, \
	0x77, 0x5f, 0x72, 0x65, 0x73, 0x75, 0x6c, 0x74, \
	0x5f, 0x62, 0x32, 0xf6, 0xa1, 0x6e, 0x70, 0x65, \
	0x6f, 0x70, 0x6c, 0x65, 0x5f, 0x63, 0x6f, 0x75, \
	0x6e, 0x74, 0x65, 0x72, 0x81, 0xa1, 0x64, 0x24, \
	0x74, 0x73, 0x6f, 0x8a, 0xa1, 0x6e, 0x6d, 0x6f, \
	0x74, 0x69, 0x6f, 0x6e, 0x5f, 0x63, 0x6f, 0x75, \
	0x6e, 0x74, 0x65, 0x72, 0xf6, 0xa1, 0x71, 0x70, \
	0x61, 0x73, 0x73, 0x5f, 0x63, 0x6f, 0x75, 0x6e, \
	0x74, 0x65, 0x72, 0x5f, 0x6c, 0x65, 0x66, 0x74, \
	0xf6, 0xa1, 0x72, 0x70, 0x61, 0x73, 0x73, 0x5f, \
	0x63, 0x6f, 0x75, 0x6e, 0x74, 0x65, 0x72, 0x5f, \
	0x72, 0x69, 0x67, 0x68, 0x74, 0xf6, 0xa1, 0x72, \
	0x70, 0x61, 0x73, 0x73, 0x5f, 0x63, 0x6f, 0x75, \
	0x6e, 0x74, 0x65, 0x72, 0x5f, 0x61, 0x64, 0x75, \
	0x6c, 0x74, 0xf6, 0xa1, 0x72, 0x70, 0x61, 0x73, \
	0x73, 0x5f, 0x63, 0x6f, 0x75, 0x6e, 0x74, 0x65, \
	0x72, 0x5f, 0x63, 0x68, 0x69, 0x6c, 0x64, 0xf6, \
	0xa1, 0x72, 0x73, 0x74, 0x61, 0x79, 0x5f, 0x63, \
	0x6f, 0x75, 0x6e, 0x74, 0x65, 0x72, 0x5f, 0x61, \
	0x64, 0x75, 0x6c, 0x74, 0xf6, 0xa1, 0x72, 0x73, \
	0x74, 0x61, 0x79, 0x5f, 0x63, 0x6f, 0x75, 0x6e, \
	0x74, 0x65, 0x72, 0x5f, 0x63, 0x68, 0x69, 0x6c, \
	0x64, 0xf6, 0xa1, 0x70, 0x74, 0x6f, 0x74, 0x61, \
	0x6c, 0x5f, 0x74, 0x69, 0x6d, 0x65, 0x5f, 0x61, \
	0x64, 0x75, 0x6c, 0x74, 0xf6, 0xa1, 0x70, 0x74, \
	0x6f, 0x74, 0x61, 0x6c, 0x5f, 0x74, 0x69, 0x6d, \
	0x65, 0x5f, 0x63, 0x68, 0x69, 0x6c, 0x64, 0xf6, \
	0xa1, 0x6f, 0x63, 0x6f, 0x6e, 0x73, 0x75, 0x6d, \
	0x65, 0x64, 0x5f, 0x65, 0x6e, 0x65, 0x72, 0x67, \
	0x79, 0xf6, 0xa1, 0x68, 0x62, 0x6c, 0x65, 0x5f, \
	0x74, 0x61, 0x67, 0x73, 0x85, 0xa1, 0x64, 0x61, \
	0x64, 0x64, 0x72, 0xf6, 0xa1, 0x64, 0x72, 0x73, \
	0x73, 0x69, 0xf6, 0xa1, 0x67, 0x76, 0x6f, 0x6c, \
	0x74, 0x61, 0x67, 0x65, 0x82, 0xa1, 0x64, 0x24, \
	0x64, 0x69, 0x76, 0x18, 0x64, 0xa1, 0x64, 0x24, \
	0x66, 0x70, 0x70, 0x02, 0xa1, 0x6b, 0x74, 0x65, \
	0x6d, 0x70, 0x65, 0x72, 0x61, 0x74, 0x75, 0x72, \
	0x65, 0x81, 0xa1, 0x6c, 0x6d, 0x65, 0x61, 0x73, \
	0x75, 0x72, 0x65, 0x6d, 0x65, 0x6e, 0x74, 0x73, \
	0x81, 0xa1, 0x64, 0x24, 0x74, 0x73, 0x70, 0x84, \
	0xa1, 0x63, 0x6d, 0x69, 0x6e, 0x82, 0xa1, 0x64, \
	0x24, 0x64, 0x69, 0x76, 0x18, 0x64, 0xa1, 0x64, \
	0x24, 0x66, 0x70, 0x70, 0x02, 0xa1, 0x63, 0x6d, \
	0x61, 0x78, 0x82, 0xa1, 0x64, 0x24, 0x64, 0x69, \
	0x76, 0x18, 0x64, 0xa1, 0x64, 0x24, 0x66, 0x70, \
	0x70, 0x02, 0xa1, 0x63, 0x61, 0x76, 0x67, 0x82, \
	0xa1, 0x64, 0x24, 0x64, 0x69, 0x76, 0x18, 0x64, \
	0xa1, 0x64, 0x24, 0x66, 0x70, 0x70, 0x02, 0xa1, \
	0x63, 0x6d, 0x64, 0x6e, 0x82, 0xa1, 0x64, 0x24, \
	0x64, 0x69, 0x76, 0x18, 0x64, 0xa1, 0x64, 0x24, \
	0x66, 0x70, 0x70, 0x02, 0xa1, 0x68, 0x68, 0x75, \
	0x6d, 0x69, 0x64, 0x69, 0x74, 0x79, 0x81, 0xa1, \
	0x6c, 0x6d, 0x65, 0x61, 0x73, 0x75, 0x72, 0x65, \
	0x6d, 0x65, 0x6e, 0x74, 0x73, 0x81, 0xa1, 0x64, \
	0x24, 0x74, 0x73, 0x70, 0x84, 0xa1, 0x63, 0x6d, \
	0x69, 0x6e, 0x82, 0xa1, 0x64, 0x24, 0x64, 0x69, \
	0x76, 0x18, 0x64, 0xa1, 0x64, 0x24, 0x66, 0x70, \
	0x70, 0x02, 0xa1, 0x63, 0x6d, 0x61, 0x78, 0x82, \
	0xa1, 0x64, 0x24, 0x64, 0x69, 0x76, 0x18, 0x64, \
	0xa1, 0x64, 0x24, 0x66, 0x70, 0x70, 0x02, 0xa1, \
	0x63, 0x61, 0x76, 0x67, 0x82, 0xa1, 0x64, 0x24, \
	0x64, 0x69, 0x76, 0x18, 0x64, 0xa1, 0x64, 0x24, \
	0x66, 0x70, 0x70, 0x02, 0xa1, 0x63, 0x6d, 0x64, \
	0x6e, 0x82, 0xa1, 0x64, 0x24, 0x64, 0x69, 0x76, \
	0x18, 0x64, 0xa1, 0x64, 0x24, 0x66, 0x70, 0x70, \
	0x02, \
}

#ifdef __cplusplus
}
#endif

#endif /* CODEC_H_ */
```

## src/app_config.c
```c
/*
 * Copyright (c) 2024 HARDWARIO a.s.
 *
 * SPDX-License-Identifier: LicenseRef-HARDWARIO-5-Clause
 */

#include "app_config.h"

/* CHESTER includes */
#include <chester/ctr_config.h>

/* Zephyr includes */
#include <zephyr/init.h>
#include <zephyr/kernel.h>
#include <zephyr/logging/log.h>
#include <zephyr/settings/settings.h>
#include <zephyr/shell/shell.h>

/* Standard includes */
#include <stdbool.h>
#include <stdio.h>
#include <stdlib.h>
#include <string.h>

/* ### Preserved code "includes" (begin) */
/* ^^^ Preserved code "includes" (end) */

LOG_MODULE_REGISTER(app_config, LOG_LEVEL_DBG);

#define SETTINGS_PFX "app-scale"

struct app_config g_app_config;

static struct app_config m_config_interim;

/* clang-format off */
const struct ctr_config_item items[] = {
	CTR_CONFIG_ITEM_INT("interval-report", m_config_interim.interval_report, 30, 86400, "Get/Set report interval in seconds.", 900),
	CTR_CONFIG_ITEM_INT("interval-poll", m_config_interim.interval_poll, 0, 86400, "Get/Set poll interval in seconds.", 0),
	CTR_CONFIG_ITEM_INT("interval-sample", m_config_interim.interval_sample, 1, 86400, "Get/Set sample interval in seconds.", 60),
	CTR_CONFIG_ITEM_INT("interval-aggreg", m_config_interim.interval_aggreg, 1, 86400, "Get/Set aggregate interval in seconds.", 300),
	CTR_CONFIG_ITEM_INT("downlink-wdg-interval", m_config_interim.downlink_wdg_interval, 0, 1209600, "Get/Set downlink watchdog interval in seconds (disabled if 0).", 129600),
	CTR_CONFIG_ITEM_INT("event-report-delay", m_config_interim.event_report_delay, 1, 86400, "Get/Set event report delay in seconds.", 1),
	CTR_CONFIG_ITEM_INT("event-report-rate", m_config_interim.event_report_rate, 1, 3600, "Get/Set event report rate in reports per hour.", 30),
	CTR_CONFIG_ITEM_BOOL("channel-a1-active", m_config_interim.channel_a1_active, "Get/Set channel A1 activation.", true),
	CTR_CONFIG_ITEM_BOOL("channel-a2-active", m_config_interim.channel_a2_active, "Get/Set channel A2 activation.", true),
	CTR_CONFIG_ITEM_BOOL("channel-b1-active", m_config_interim.channel_b1_active, "Get/Set channel B1 activation.", true),
	CTR_CONFIG_ITEM_BOOL("channel-b2-active", m_config_interim.channel_b2_active, "Get/Set channel B2 activation.", true),
	CTR_CONFIG_ITEM_INT("weight-measurement-interval", m_config_interim.weight_measurement_interval, 30, 86400, "Get/Set weight measurement interval in seconds.", 60),

#if defined(FEATURE_HARDWARE_CHESTER_PEOPLE_COUNTER)
	CTR_CONFIG_ITEM_INT("people-measurement-interval", m_config_interim.people_measurement_interval, 5, 3600, "Get/Set people measurement interval in seconds.", 600),
	CTR_CONFIG_ITEM_INT("people-counter-power-off-delay", m_config_interim.people_counter_power_off_delay, 0, 255, "Get/Set People Counter power off delay in seconds.", 30),
	CTR_CONFIG_ITEM_INT("people-counter-stay-timeout", m_config_interim.people_counter_stay_timeout, 0, 255, "Get/Set People Counter stay timeout in second.", 5),
	CTR_CONFIG_ITEM_INT("people-counter-adult-border", m_config_interim.people_counter_adult_border, 0, 8, "Get/Set People Counter adult border.", 4),
#endif /* defined(FEATURE_HARDWARE_CHESTER_PEOPLE_COUNTER) */

	CTR_CONFIG_ITEM_ENUM("mode", m_config_interim.mode, ((const char*[]){"none", "lte", "lrw"}), "Set communication mode", APP_CONFIG_MODE_NONE),

	/* ### Preserved code "config" (begin) */
	/* ^^^ Preserved code "config" (end) */

};
/* clang-format on */

/* ### Preserved code "function" (begin) */
/* ^^^ Preserved code "function" (end) */

int app_config_cmd_config_show(const struct shell *shell, size_t argc, char **argv)
{
	/* ### Preserved code "app_config_cmd_config_show start" (begin) */
	/* ^^^ Preserved code "app_config_cmd_config_show start" (end) */

	for (int i = 0; i < ARRAY_SIZE(items); i++) {
		ctr_config_show_item(shell, &items[i]);
	}

	/* ### Preserved code "app_config_cmd_config_show end" (begin) */
	/* ^^^ Preserved code "app_config_cmd_config_show end" (end) */

	return 0;
}

int app_config_cmd_config(const struct shell *shell, size_t argc, char **argv)
{
	/* ### Preserved code "app_config_cmd_config" (begin) */
	/* ^^^ Preserved code "app_config_cmd_config" (end) */
	return ctr_config_cmd_config(items, ARRAY_SIZE(items), shell, argc, argv);
}

static int h_set(const char *key, size_t len, settings_read_cb read_cb, void *cb_arg)
{
	/* ### Preserved code "h_set" (begin) */
	/* ^^^ Preserved code "h_set" (end) */

	return ctr_config_h_set(items, ARRAY_SIZE(items), key, len, read_cb, cb_arg);
}

static int h_commit(void)
{
	LOG_DBG("Loaded settings in full");

	/* ### Preserved code "h_commit" (begin) */
	/* ^^^ Preserved code "h_commit" (end) */

	memcpy(&g_app_config, &m_config_interim, sizeof(g_app_config));
	return 0;
}

static int h_export(int (*export_func)(const char *name, const void *val, size_t val_len))
{
	/* ### Preserved code "h_export" (begin) */
	/* ^^^ Preserved code "h_export" (end) */

	return ctr_config_h_export(items, ARRAY_SIZE(items), export_func);
}

static int init(void)
{
	int ret;

	LOG_INF("System initialization");

	for (int i = 0; i < ARRAY_SIZE(items); i++) {
		ctr_config_init_item(&items[i]);
	}

	static struct settings_handler sh = {
		.name = SETTINGS_PFX,
		.h_set = h_set,
		.h_commit = h_commit,
		.h_export = h_export,
	};

	ret = settings_register(&sh);
	if (ret) {
		LOG_ERR("Call `settings_register` failed: %d", ret);
		return ret;
	}

	ret = settings_load_subtree(SETTINGS_PFX);
	if (ret) {
		LOG_ERR("Call `settings_load_subtree` failed: %d", ret);
		return ret;
	}

	/* ### Preserved code "init" (begin) */
	/* ^^^ Preserved code "init" (end) */

	ctr_config_append_show(SETTINGS_PFX, app_config_cmd_config_show);

	return 0;
}

SYS_INIT(init, APPLICATION, CONFIG_APPLICATION_INIT_PRIORITY);
```

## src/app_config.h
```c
/*
 * Copyright (c) 2024 HARDWARIO a.s.
 *
 * SPDX-License-Identifier: LicenseRef-HARDWARIO-5-Clause
 */

#ifndef APP_CONFIG_H_
#define APP_CONFIG_H_

/* Zephyr includes */
#include <zephyr/shell/shell.h>

/* Standard includes */
#include <stdbool.h>
#include <stddef.h>

/* ### Preserved code "includes" (begin) */
/* ^^^ Preserved code "includes" (end) */

#ifdef __cplusplus
extern "C" {
#endif

enum app_config_mode {
	APP_CONFIG_MODE_NONE = 0,
	APP_CONFIG_MODE_LTE = 1,
	APP_CONFIG_MODE_LRW = 2,
};

struct app_config {
	int interval_report;
	int interval_poll;
	int interval_sample;
	int interval_aggreg;
	int downlink_wdg_interval;
	int event_report_delay;
	int event_report_rate;
	bool channel_a1_active;
	bool channel_a2_active;
	bool channel_b1_active;
	bool channel_b2_active;
	int weight_measurement_interval;

#if defined(FEATURE_HARDWARE_CHESTER_PEOPLE_COUNTER)
	int people_measurement_interval;
	int people_counter_power_off_delay;
	int people_counter_stay_timeout;
	int people_counter_adult_border;
#endif /* defined(FEATURE_HARDWARE_CHESTER_PEOPLE_COUNTER) */

	enum app_config_mode mode;

	/* ### Preserved code "struct variables" (begin) */
	/* ^^^ Preserved code "struct variables" (end) */
};

extern struct app_config g_app_config;

int app_config_cmd_config_show(const struct shell *shell, size_t argc, char **argv);
int app_config_cmd_config_mode(const struct shell *shell, size_t argc, char **argv);

int app_config_cmd_config(const struct shell *shell, size_t argc, char **argv);

/* ### Preserved code "functions" (begin) */
/* ^^^ Preserved code "functions" (end) */

#ifdef __cplusplus
}
#endif

#endif /* APP_CONFIG_H_ */
```

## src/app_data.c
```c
/*
 * Copyright (c) 2024 HARDWARIO a.s.
 *
 * SPDX-License-Identifier: LicenseRef-HARDWARIO-5-Clause
 */

#include "app_data.h"

/* Zephyr includes */
#include <zephyr/kernel.h>

/* Standard includes */
#include <limits.h>
#include <math.h>
#include <stdbool.h>

struct app_data g_app_data = {
	.accel_acceleration_x = NAN,
	.accel_acceleration_y = NAN,
	.accel_acceleration_z = NAN,
	.accel_orientation = INT_MAX,
	.therm_temperature = NAN,
	.weight_measurement_count = 0,

#if defined(FEATURE_HARDWARE_CHESTER_PEOPLE_COUNTER)
	.people_measurement_count = 0,
#endif /* defined(FEATURE_HARDWARE_CHESTER_PEOPLE_COUNTER) */

#if defined(FEATURE_SUBSYSTEM_BLE_TAG)
	.ble_tag.sensor[0 ... CTR_BLE_TAG_COUNT - 1] =
		{
			.last_sample_temperature = NAN,
			.last_sample_humidity = NAN,
		},
#endif /* defined(FEATURE_SUBSYSTEM_BLE_TAG) */
};

static K_MUTEX_DEFINE(m_lock);

void app_data_lock(void)
{
	k_mutex_lock(&m_lock, K_FOREVER);
}

void app_data_unlock(void)
{
	k_mutex_unlock(&m_lock);
}
```

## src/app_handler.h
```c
/*
 * Copyright (c) 2024 HARDWARIO a.s.
 *
 * SPDX-License-Identifier: LicenseRef-HARDWARIO-5-Clause
 */

#ifndef APP_HANDLER_H_
#define APP_HANDLER_H_

/* CHESTER includes */
#include <chester/ctr_button.h>
#include <chester/ctr_cloud.h>
#include <chester/ctr_lrw.h>
#include <chester/ctr_lte.h>
#include <chester/ctr_power.h>

#ifdef __cplusplus
extern "C" {
#endif

#if defined(FEATURE_SUBSYSTEM_POWER)
void app_handler_power_event(const struct ctr_power_event *event, void *user_data);
#endif /* defined(FEATURE_SUBSYSTEM_POWER) */

#if defined(FEATURE_SUBSYSTEM_BUTTON)
void app_handler_ctr_button(enum ctr_button_channel chan, enum ctr_button_event ev, int val,
			    void *user_data);
#endif /* defined(CONFIG_SHIELD_BUTTON) */

#if defined(FEATURE_SUBSYSTEM_LRW)
void app_handler_lrw(enum ctr_lrw_event event, union ctr_lrw_event_data *data, void *param);
#endif /* defined(FEATURE_SUBSYSTEM_LRW) */

#ifdef __cplusplus
}
#endif

#endif /* APP_HANDLER_H_ */
```
